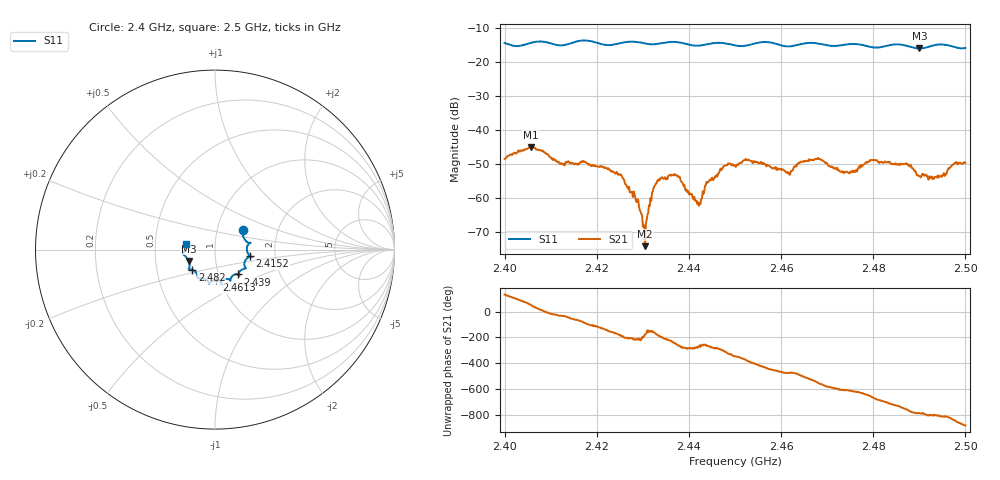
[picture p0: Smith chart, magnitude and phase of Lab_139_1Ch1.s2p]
# Hz S RI R 50
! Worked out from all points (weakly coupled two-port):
!   601 points, 2.4 GHz to 2.5 GHz, reference 50 ohm
!   highest |S21| = -44.99 dB at 2.4057 GHz (marker M1); lowest = -74.2 dB at 2.4305 GHz (marker M2)
!   lowest |S11| = -15.9 dB at 2.49 GHz (marker M3), VSWR 1.38, Z = 37 - j4.85 ohm
!   |S11| at or under -10 dB: start of sweep to end of sweep
!   S12 and S22 are empty: the file has one direction only
!   S11 on the Smith chart (normalised r, x): 2.4 GHz: 1.33, +0.31; 2.4152 GHz: 1.48, -0.11; 2.439 GHz: 1.24, -0.36; 2.4613 GHz: 0.96, -0.34; 2.482 GHz: 0.76, -0.18; 2.5 GHz: 0.72, +0.05
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2.4e9  0.1563 0.1115  -0.0026 0.00275  0 0  0 0
2.405667e9  0.1893 0.0372  0.00345 0.00445  0 0  0 0
2.415167e9  0.195 -0.0361  0.0016 -0.00269  0 0  0 0
2.416667e9  0.2044 -0.0421  0.000893 -0.00325  0 0  0 0
2.425333e9  0.1665 -0.098  -0.00215 0.000222  0 0  0 0
2.4285e9  0.1701 -0.1045  -0.000731 0.00055  0 0  0 0
2.4305e9  0.1534 -0.1103  -0.000195 -2.83e-06  0 0  0 0
2.432167e9  0.1377 -0.1214  -0.00117 -0.000452  0 0  0 0
2.433333e9  0.1326 -0.1323  -0.00178 0.000124  0 0  0 0
2.436833e9  0.1354 -0.1465  -0.00105 0.002  0 0  0 0
2.439e9  0.1283 -0.1385  0.000288 0.00154  0 0  0 0
2.442167e9  0.0973 -0.1465  -9.79e-06 0.000764  0 0  0 0
2.444167e9  0.086 -0.1648  -0.000104 0.00172  0 0  0 0
2.45e9  0.0691 -0.1638  0.00297 0.000643  0 0  0 0
2.452833e9  0.0399 -0.1738  0.00338 -0.00146  0 0  0 0
2.461333e9  0.00776 -0.1711  -0.00104 -0.00209  0 0  0 0
2.466667e9  -0.0337 -0.1905  -0.00359 -0.000547  0 0  0 0
2.474333e9  -0.0887 -0.1609  -0.000817 0.0023  0 0  0 0
2.482e9  -0.1263 -0.1124  0.00303 0.00137  0 0  0 0
2.483333e9  -0.1392 -0.1101  0.00331 0.000407  0 0  0 0
2.49e9  -0.1465 -0.0639  0.000761 -0.00195  0 0  0 0
2.5e9  -0.1588 0.0328  -0.00317 -0.000846  0 0  0 0
